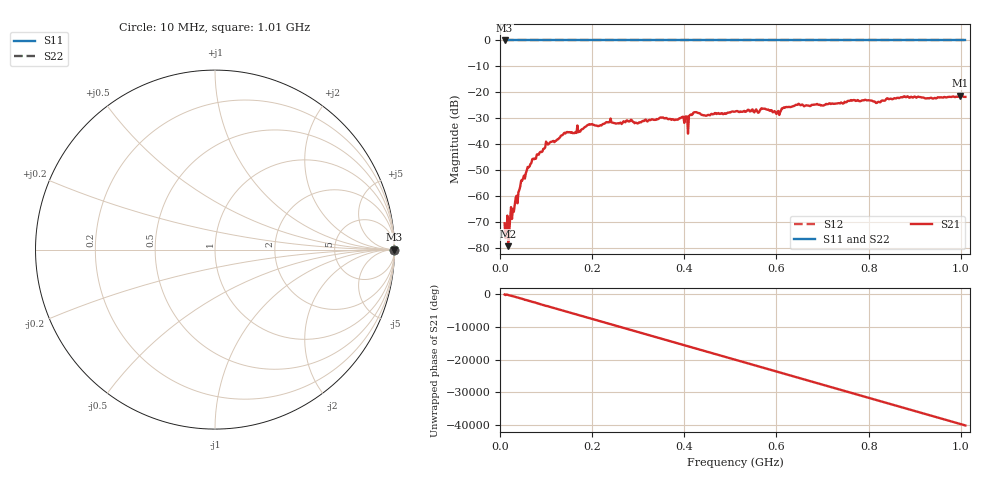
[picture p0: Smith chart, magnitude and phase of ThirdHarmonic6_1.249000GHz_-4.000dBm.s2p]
! 8/16/2025 1:19:55 PM
! C:\ANRITSUVNA\TEMP\TEMP.S2P
! CHANNEL.1
! TR.MEASUREMENT
! RAW.DATA
! RF.CORRECTION.OFF
! AVERAGING.OFF
! IF.BANDWIDTH: 5KHZ
! SWEEPTYPE:  FREQ.SWEEP(Linear)
! Reference Plane Port Info
! PORT:  PORT1  PORT2
! DISTANCE:  0  m  0  m
! TIME:  0  s  0  s
! PHASE.OFFSET:  0  deg.  0  deg.
! LOSS:  0  dB  0  dB
! REF.LOSS:  0  dB  0  dB
! REF.FREQ:  0  Hz  0  Hz
! Power Info
! POWER:  -20  dBm  -20  dBm
! EFF.POWER:  -20  dBm  -20  dBm
! SOURCE.ATTEN:  0  dB  0  dB
! TEST.ATTEN:  0  dB  0  dB
# GHZ S RI R 50.0
! FREQ.GHZ  S11RE  S11IM  S21RE  S21IM  S12RE  S12IM  S22RE  S22IM
!; PortSelection: Port_12
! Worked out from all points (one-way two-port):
!   501 points, 10 MHz to 1.01 GHz, reference 50 ohm
!   highest |S21| = -21.31 dB at 998 MHz (marker M1); lowest = -79.2 dB at 18 MHz (marker M2)
!   lowest |S11| = 0.0 dB at 10 MHz (marker M3)
!   |S11| at or under -10 dB: nowhere
!   |S22| runs from 0.0 to 0.0 dB; largest |S21 - S12| = 1.1
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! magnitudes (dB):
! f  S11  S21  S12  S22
! 10 MHz  0.0  -70.4  0.0  0.0
! 16 MHz  0.0  -67.5  0.0  0.0
! 18 MHz  0.0  -79.2  0.0  0.0
! 26 MHz  0.0  -68.7  0.0  0.0
! 48 MHz  0.0  -54.0  0.0  0.0
! 70 MHz  0.0  -45.7  0.0  0.0
! 104 MHz  0.0  -40.1  0.0  0.0
! 178 MHz  0.0  -34.2  0.0  0.0
! 236 MHz  0.0  -31.5  0.0  0.0
! 344 MHz  0.0  -30.2  0.0  0.0
! 394 MHz  0.0  -29.6  0.0  0.0
! 404 MHz  0.0  -29.3  0.0  0.0
! 424 MHz  0.0  -27.6  0.0  0.0
! 446 MHz  0.0  -29.0  0.0  0.0
! 510 MHz  0.0  -27.4  0.0  0.0
! 572 MHz  0.0  -26.3  0.0  0.0
! 602 MHz  0.0  -27.6  0.0  0.0
! 644 MHz  0.0  -24.8  0.0  0.0
! 678 MHz  0.0  -24.8  0.0  0.0
! 844 MHz  0.0  -22.6  0.0  0.0
! 998 MHz  0.0  -21.3  0.0  0.0
! 1.01 GHz  0.0  -21.7  0.0  0.0
